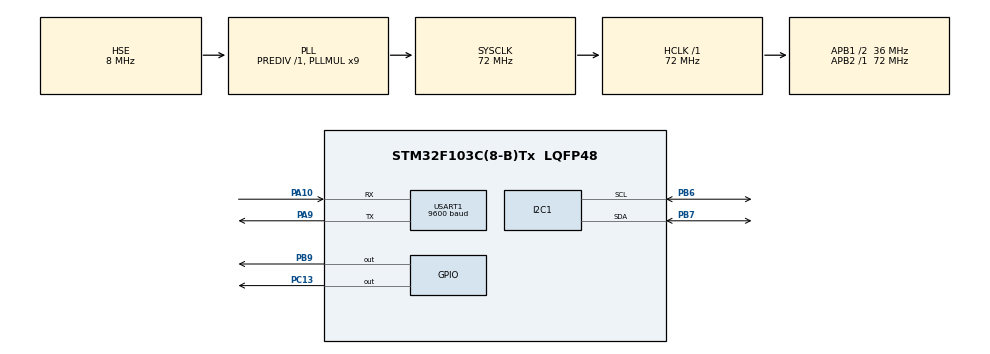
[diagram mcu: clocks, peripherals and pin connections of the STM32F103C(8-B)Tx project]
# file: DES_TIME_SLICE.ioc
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Mcu.Family=STM32F1
Mcu.Name=STM32F103C(8-B)Tx
Mcu.Package=LQFP48
NVIC.PriorityGroup=NVIC_PRIORITYGROUP_4
PA10.Mode=Asynchronous
PA10.Signal=USART1_RX
PA13.Mode=Serial_Wire
PA13.Signal=SYS_JTMS-SWDIO
PA14.Mode=Serial_Wire
PA14.Signal=SYS_JTCK-SWCLK
PA9.Mode=Asynchronous
PA9.Signal=USART1_TX
PB6.Mode=I2C
PB6.Signal=I2C1_SCL
PB7.Mode=I2C
PB7.Signal=I2C1_SDA
PB9.GPIO_PuPd=GPIO_PULLUP
PB9.Signal=GPIO_Output
PC13-TAMPER-RTC.Signal=GPIO_Output
PD0-OSC_IN.Mode=HSE-External-Oscillator
PD0-OSC_IN.Signal=RCC_OSC_IN
PD1-OSC_OUT.Mode=HSE-External-Oscillator
PD1-OSC_OUT.Signal=RCC_OSC_OUT
ProjectManager.HeapSize=0x200
ProjectManager.StackSize=0x400
ProjectManager.TargetToolchain=STM32CubeIDE
RCC.AHBFreq_Value=72000000
RCC.APB1CLKDivider=RCC_HCLK_DIV2
RCC.APB1Freq_Value=36000000
RCC.APB1TimFreq_Value=72000000
RCC.APB2Freq_Value=72000000
RCC.APB2TimFreq_Value=72000000
RCC.HCLKFreq_Value=72000000
RCC.PLLMUL=RCC_PLL_MUL9
RCC.PLLSourceVirtual=RCC_PLLSOURCE_HSE
RCC.SYSCLKFreq_VALUE=72000000
RCC.SYSCLKSource=RCC_SYSCLKSOURCE_PLLCLK
RCC.USBFreq_Value=72000000
USART1.BaudRate=9600
USART1.VirtualMode=VM_ASYNC
VP_TIM1_VS_ClockSourceINT.Mode=Internal
board=custom

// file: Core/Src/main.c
/*
 * main.c
 *
 *  Created on: Jan 21, 2025
 *      Author: levan
 */

/* USER CODE BEGIN Header */
/**
  ******************************************************************************
  * @file           : main.c
  * @brief          : Main program body
  ******************************************************************************
  * @attention
  *
  * Copyright (c) 2025 STMicroelectronics.
  * All rights reserved.
  *
  * This software is licensed under terms that can be found in the LICENSE file
  * in the root directory of this software component.
  * If no LICENSE file comes with this software, it is provided AS-IS.
  *
  ******************************************************************************
  */
/* USER CODE END Header */
#include "main.h"

/* USER CODE BEGIN Includes */
#include "string.h"
#include "stdlib.h"
#include "stdio.h"
#include "liquidcrystal_i2c.h"
#include "DS1307.h"
#include "DHT.h"
/* USER CODE END Includes */

/* USER CODE BEGIN PM */
uint8_t hour; // Gi�? thực
uint8_t min;  // Phút thực
uint8_t sec;  // Giây thực
uint8_t set_hour; // Gi�? thực
uint8_t set_min;  // Phút thực
uint8_t set_sec;  // Giây thực
float t;
char tx_buff[100] = "START_TX";
char Lcd_send1[20];
char LCD_send2[20];
uint8_t count=0;
uint16_t time1=0;
uint16_t time2=0;
uint16_t T=0;
uint8_t printf_to_com[20]; // mang luu gia tri thu tu computer de in ra man hinh
uint8_t Rx_data[50]; // Mảng lưu dữ liệu nhận được
uint8_t Rx_data_reel[50];
uint16_t rx_len = 0;
/* USER CODE END PM */

I2C_HandleTypeDef hi2c1;

TIM_HandleTypeDef htim1;

UART_HandleTypeDef huart1;

void SystemClock_Config(void);
static void MX_GPIO_Init(void);
static void MX_TIM1_Init(void);
static void MX_USART1_UART_Init(void);
static void MX_I2C1_Init(void);

/* USER CODE BEGIN 0 */
void I2C_DS1307(void)
{
	  hour = DS1307_GetHour(); 		// Lấy gi�?
	  min = DS1307_GetMinute();	  	// Lấy phút
	  sec = DS1307_GetSecond();
}
void One_write_DHT11(void)
{
	t = DHT11();
}
void I2C_LCD(void)
{
	  HD44780_Clear();
	  HD44780_SetCursor(0,0);
	  sprintf(Lcd_send1, "%.1f%%", t);
	  HD44780_PrintStr(Lcd_send1);

	  HD44780_SetCursor(7,0);
	  sprintf(LCD_send2, "%02d:%02d:%02d   ", hour, min,sec);
	  HD44780_PrintStr(LCD_send2);

	  HAL_Delay(100);

	  if(rx_len!=0)
	  {
	  }
}
void UART_TX(void)
{
	int ret = snprintf((char*)tx_buff, sizeof(tx_buff), "H : %.2f\r\nTIME : %02u:%02u:%02u\r\n", t, hour, min, sec);
	    if (ret < 0 || ret >= sizeof(tx_buff)) {
	        // Xử lý lỗi (chuỗi quá dài)
	        // Ví dụ: in thông báo lỗi ra debug hoặc bỏ qua
	        // Bạn *cần* xử lý lỗi này để tránh crash chương trình
	        const char* error_msg = "Error: Buffer too small\r\n";
	        HAL_UART_Transmit(&huart1, (uint8_t*)error_msg, strlen(error_msg), HAL_MAX_DELAY);
	        return; // Dừng hàm nếu có lỗi
	    }
	    HAL_UART_Transmit(&huart1, tx_buff, strlen((char*)tx_buff), HAL_MAX_DELAY);
}
void UART_RX(void)
{
	memset(Rx_data, 0, sizeof(Rx_data));
//	memset(Rx_data_reel, 0, sizeof(Rx_data));
//	memset(printf_to_com, 0, sizeof(Rx_data));
	HAL_UART_Receive(&huart1, Rx_data, sizeof(Rx_data), 1000);
	rx_len=0;
	if(strlen(Rx_data) > 0)
	{
	    if (Rx_data[0] == 'S' && Rx_data[1] == 'T')
	    {
	    	char *p = &Rx_data[3];
	    	sscanf(p,"%d%d%d", &set_hour, &set_min, &set_sec);
			//HD44780_SetCursor(0,1);
			//sprintf(LCD_send2, "Time:%02d:%02d:%02d   ", set_hour, set_min,set_sec);
			//HD44780_PrintStr(LCD_send2);
			//HAL_Delay(1000);
	    	setDS1307Time(set_hour, set_min, set_sec);

	    }
	    else if (Rx_data[0] == 'S' && Rx_data[1] == 'P')
	    {

	    	char *p = &Rx_data[2];
	    	HD44780_SetCursor(0,1);
	    	HD44780_PrintStr("              ");
	    	HD44780_SetCursor(0,1);
	    	HD44780_PrintStr(p);
	    	HAL_Delay(3000);
	    }
	    else if (Rx_data[0] == 'G')
	    {
	    	UART_TX();
	    }
	    else if(strlen(Rx_data)>1)
	    {
	    	HD44780_SetCursor(0,1);
	    	HD44780_PrintStr("Non_true_form");
	    	HAL_Delay(3000);
	    }

	}

}

uint8_t decToBcd(uint8_t val) {
  return ((val / 10) << 4) | (val % 10);
}

uint8_t bcdToDec(uint8_t val) {
  return ((val >> 4) * 10) + (val & 0x0F);
}

void setDS1307Time(uint8_t set_hour, uint8_t set_min, uint8_t set_sec) {
  uint8_t data[3];

  data[0] = decToBcd(set_sec); // Giây
  data[1] = decToBcd(set_min); // Phút
  data[2] = decToBcd(set_hour); // Giờ

  // Ghi dữ liệu vào DS1307
  HAL_I2C_Mem_Write(&hi2c1, 0xD0, 0x00, 1, data, 3, 1000); // Địa chỉ DS1307 là 0xD0
}

typedef struct {
    int task_id;         	// ID của tác vụ
    int execution_time;  	// Thời gian thực thi (ms)--> C
    int t1;          	// Deadline (ms)  --> D  + execution_time (not essential)
    int t2;       		// Chu kì lặp lại --> T
    int ready;           	// Trạng thái sẵn sàng (1 = sẵn sàng, 0 = chưa)
} Task;
#define NUM_TASKS 5  // Số lượng tác vụ
Task tasks[NUM_TASKS] = {
    {1, 45, 100, 300, 0},  		// Tác vụ TX:
    {2, 100, 200, 400, 0}, 		// Tác vụ RX:
	{3, 50, 100, 200, 0}, 		// Tác vụ DS1307:
	{4, 30, 60, 3000, 0}, 		// Tác vụ DHT11:
    {5, 50, 100, 300, 0}  		// Tác vụ LCD:
};

/* USER CODE END 0 */

int main(void)
{

  /* MCU Configuration--------------------------------------------------------*/

  /* Reset of all peripherals, Initializes the Flash interface and the Systick. */
  HAL_Init();

  /* Configure the system clock */
  SystemClock_Config();

  /* Initialize all configured peripherals */
  MX_GPIO_Init();
  MX_TIM1_Init();
  MX_USART1_UART_Init();
  MX_I2C1_Init();
  /* USER CODE BEGIN 2 */
  HAL_TIM_Base_Start(&htim1);
  HD44780_Init(2);
  DS1307_Init(&hi2c1);
  /* USER CODE END 2 */

  /* Infinite loop */
  /* USER CODE BEGIN WHILE */
  while (1)
    {
//	  const char* test_msg = "Hello World!\r\n";
//	  HAL_UART_Transmit(&huart1, (uint8_t*)test_msg, strlen(test_msg), HAL_MAX_DELAY);
//	  One_write_DHT11();
//	  I2C_DS1307();
//	  I2C_LCD();
//	  UART_RX();

	  for (int i = 0; i < NUM_TASKS; i++)
	  	  {
	  	      if (HAL_GetTick() >= tasks[i].t2)
	  	      {
	  	           tasks[i].ready = 1;               // Đánh dấu tác vụ sẵn sàng
	  	      }
	  	  }

	  	  if(tasks[3].ready)
	  	  {
//	  		  time1= HAL_GetTick();
	  		  One_write_DHT11();
//	  		  time2= HAL_GetTick();
//	  		  T =time2-time1;
	  		  tasks[3].t2 = tasks[3].execution_time + HAL_GetTick();  // Reset thời gian co the thực thi
	  		  tasks[3].ready = 0;
	  	  }
	  	  else if (tasks[2].ready)
	  	  {
	  		  I2C_DS1307();
	  		  tasks[2].t2 = tasks[2].execution_time + HAL_GetTick();  // Reset thời gian co the thực thi
	  		  tasks[2].ready = 0;
	  	  }
	  	  else if (tasks[4].ready)
	  	  {
	  		  I2C_LCD();
	  		  tasks[4].t2 = tasks[4].execution_time + HAL_GetTick();  // Reset thời gian co the thực thi
	  		  tasks[4].ready = 0;
	  	  }
	  	  else if (tasks[1].ready)
	  	  {
	  		  UART_RX();
	  		  tasks[1].t2 = tasks[1].execution_time + HAL_GetTick();  // Reset thời gian co the thực thi
	  		  tasks[1].ready = 0;
	  	  }
	  	  else if (tasks[0].ready)
	  	  {
	  		  UART_TX();
	  		  tasks[0].t2 = tasks[0].execution_time + HAL_GetTick();  // Reset thời gian co the thực thi
	  		  tasks[0].ready = 0;
	  	  }

    /* USER CODE END WHILE */
  }
}

void SystemClock_Config(void)
{
  RCC_OscInitTypeDef RCC_OscInitStruct = {0};
  RCC_ClkInitTypeDef RCC_ClkInitStruct = {0};

  /** Initializes the RCC Oscillators according to the specified parameters
  * in the RCC_OscInitTypeDef structure.
  */
  RCC_OscInitStruct.OscillatorType = RCC_OSCILLATORTYPE_HSE;
  RCC_OscInitStruct.HSEState = RCC_HSE_ON;
  RCC_OscInitStruct.HSEPredivValue = RCC_HSE_PREDIV_DIV1;
  RCC_OscInitStruct.HSIState = RCC_HSI_ON;
  RCC_OscInitStruct.PLL.PLLState = RCC_PLL_ON;
  RCC_OscInitStruct.PLL.PLLSource = RCC_PLLSOURCE_HSE;
  RCC_OscInitStruct.PLL.PLLMUL = RCC_PLL_MUL9;
  if (HAL_RCC_OscConfig(&RCC_OscInitStruct) != HAL_OK)
  {
    Error_Handler();
  }

  /** Initializes the CPU, AHB and APB buses clocks
  */
  RCC_ClkInitStruct.ClockType = RCC_CLOCKTYPE_HCLK|RCC_CLOCKTYPE_SYSCLK
                              |RCC_CLOCKTYPE_PCLK1|RCC_CLOCKTYPE_PCLK2;
  RCC_ClkInitStruct.SYSCLKSource = RCC_SYSCLKSOURCE_PLLCLK;
  RCC_ClkInitStruct.AHBCLKDivider = RCC_SYSCLK_DIV1;
  RCC_ClkInitStruct.APB1CLKDivider = RCC_HCLK_DIV2;
  RCC_ClkInitStruct.APB2CLKDivider = RCC_HCLK_DIV1;

  if (HAL_RCC_ClockConfig(&RCC_ClkInitStruct, FLASH_LATENCY_2) != HAL_OK)
  {
    Error_Handler();
  }
}

static void MX_I2C1_Init(void)
{

  hi2c1.Instance = I2C1;
  hi2c1.Init.ClockSpeed = 100000;
  hi2c1.Init.DutyCycle = I2C_DUTYCYCLE_2;
  hi2c1.Init.OwnAddress1 = 0;
  hi2c1.Init.AddressingMode = I2C_ADDRESSINGMODE_7BIT;
  hi2c1.Init.DualAddressMode = I2C_DUALADDRESS_DISABLE;
  hi2c1.Init.OwnAddress2 = 0;
  hi2c1.Init.GeneralCallMode = I2C_GENERALCALL_DISABLE;
  hi2c1.Init.NoStretchMode = I2C_NOSTRETCH_DISABLE;
  if (HAL_I2C_Init(&hi2c1) != HAL_OK)
  {
    Error_Handler();
  }

}

static void MX_TIM1_Init(void)
{

  TIM_ClockConfigTypeDef sClockSourceConfig = {0};
  TIM_MasterConfigTypeDef sMasterConfig = {0};

  htim1.Instance = TIM1;
  htim1.Init.Prescaler = 71;
  htim1.Init.CounterMode = TIM_COUNTERMODE_UP;
  htim1.Init.Period = 65535;
  htim1.Init.ClockDivision = TIM_CLOCKDIVISION_DIV1;
  htim1.Init.RepetitionCounter = 0;
  htim1.Init.AutoReloadPreload = TIM_AUTORELOAD_PRELOAD_DISABLE;
  if (HAL_TIM_Base_Init(&htim1) != HAL_OK)
  {
    Error_Handler();
  }
  sClockSourceConfig.ClockSource = TIM_CLOCKSOURCE_INTERNAL;
  if (HAL_TIM_ConfigClockSource(&htim1, &sClockSourceConfig) != HAL_OK)
  {
    Error_Handler();
  }
  sMasterConfig.MasterOutputTrigger = TIM_TRGO_RESET;
  sMasterConfig.MasterSlaveMode = TIM_MASTERSLAVEMODE_DISABLE;
  if (HAL_TIMEx_MasterConfigSynchronization(&htim1, &sMasterConfig) != HAL_OK)
  {
    Error_Handler();
  }

}

static void MX_USART1_UART_Init(void)
{

  huart1.Instance = USART1;
  huart1.Init.BaudRate = 9600;
  huart1.Init.WordLength = UART_WORDLENGTH_8B;
  huart1.Init.StopBits = UART_STOPBITS_1;
  huart1.Init.Parity = UART_PARITY_NONE;
  huart1.Init.Mode = UART_MODE_TX_RX;
  huart1.Init.HwFlowCtl = UART_HWCONTROL_NONE;
  huart1.Init.OverSampling = UART_OVERSAMPLING_16;
  if (HAL_UART_Init(&huart1) != HAL_OK)
  {
    Error_Handler();
  }

}

static void MX_GPIO_Init(void)
{
  GPIO_InitTypeDef GPIO_InitStruct = {0};

  /* GPIO Ports Clock Enable */
  __HAL_RCC_GPIOC_CLK_ENABLE();
  __HAL_RCC_GPIOD_CLK_ENABLE();
  __HAL_RCC_GPIOA_CLK_ENABLE();
  __HAL_RCC_GPIOB_CLK_ENABLE();

  /*Configure GPIO pin Output Level */
  HAL_GPIO_WritePin(GPIOC, GPIO_PIN_13, GPIO_PIN_RESET);

  /*Configure GPIO pin Output Level */
  HAL_GPIO_WritePin(GPIOB, GPIO_PIN_9, GPIO_PIN_RESET);

  /*Configure GPIO pin : PC13 */
  GPIO_InitStruct.Pin = GPIO_PIN_13;
  GPIO_InitStruct.Mode = GPIO_MODE_OUTPUT_PP;
  GPIO_InitStruct.Pull = GPIO_NOPULL;
  GPIO_InitStruct.Speed = GPIO_SPEED_FREQ_LOW;
  HAL_GPIO_Init(GPIOC, &GPIO_InitStruct);

  /*Configure GPIO pin : PB9 */
  GPIO_InitStruct.Pin = GPIO_PIN_9;
  GPIO_InitStruct.Mode = GPIO_MODE_OUTPUT_PP;
  GPIO_InitStruct.Pull = GPIO_PULLUP;
  GPIO_InitStruct.Speed = GPIO_SPEED_FREQ_LOW;
  HAL_GPIO_Init(GPIOB, &GPIO_InitStruct);

}

void Error_Handler(void)
{
  __disable_irq();
  while (1)
  {
  }
}
